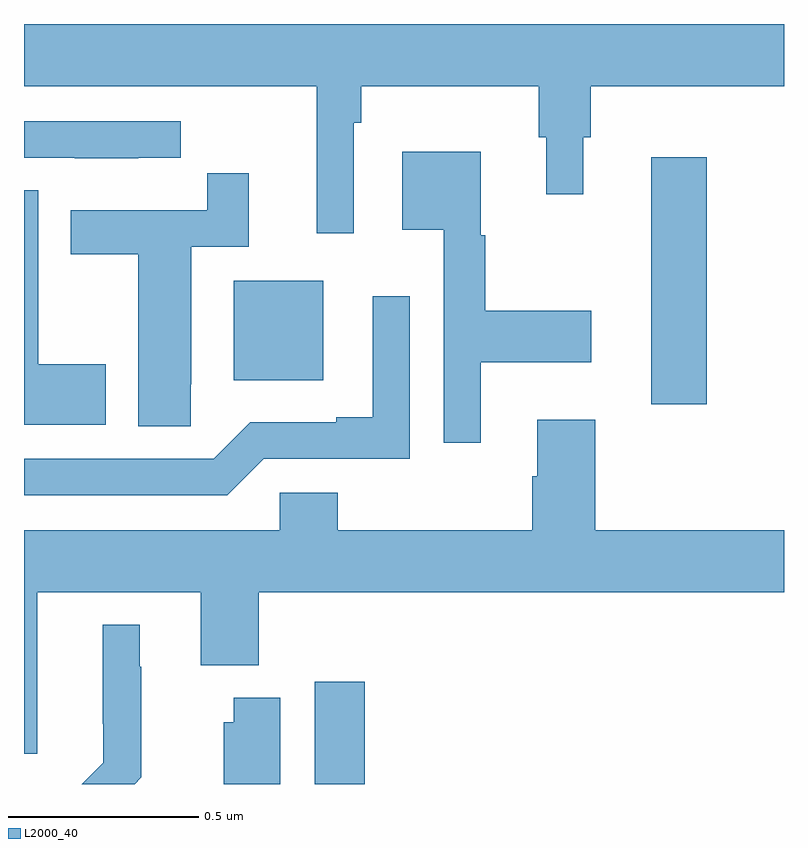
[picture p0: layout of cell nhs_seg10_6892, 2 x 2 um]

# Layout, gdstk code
import gdstk
lib = gdstk.Library(unit=1e-6, precision=1e-09)
def R(c, l, rs):  # rectangles x0, y0, x1, y1
    for r in rs: c.add(gdstk.rectangle(r[:2], r[2:], *l))
def P(c, l, *ps):  # polygons
    for p in ps: c.add(gdstk.Polygon(p, *l))
L2000_40 = (2000, 40)

nhs_seg10_6892 = lib.new_cell('nhs_seg10_6892')
R(nhs_seg10_6892, L2000_40, [(197.765,1278.5,197.897,1278.769), (198.65,1279.5,198.797,1280.149), (197.552,1279.562,197.788,1279.825)])
P(nhs_seg10_6892, L2000_40, [(197.868,1280.24),(197.888,1280.24),(197.888,1280.336),(198.355,1280.336),(198.355,1280.202),(198.374,1280.202),(198.374,1280.052),(198.472,1280.052),(198.472,1280.202),(198.491,1280.202),(198.491,1280.336),(199,1280.336),(199,1280.5),(197,1280.5),(197,1280.336),(197.771,1280.336),(197.771,1279.95),(197.868,1279.95)],
  [(197.3,1280.148),(197.413,1280.148),(197.413,1280.244),(197,1280.244),(197,1280.148),(197.134,1280.148),(197.134,1280.147),(197.3,1280.147)],
  [(198.202,1279.61),(198.493,1279.61),(198.493,1279.745),(198.214,1279.745),(198.214,1279.944),(198.202,1279.944),(198.202,1280.164),(197.996,1280.164),(197.996,1279.958),(198.105,1279.958),(198.105,1279.398),(198.202,1279.398)],
  [(197.439,1279.552),(197.44,1279.552),(197.44,1279.914),(197.591,1279.914),(197.591,1280.107),(197.482,1280.107),(197.482,1280.01),(197.123,1280.01),(197.123,1279.894),(197.3,1279.894),(197.3,1279.441),(197.439,1279.441)],
  [(197.215,1279.605),(197.038,1279.605),(197.038,1280.063),(197,1280.063),(197,1279.445),(197.215,1279.445)],
  [(197.631,1279.356),(198.015,1279.356),(198.015,1279.783),(197.918,1279.783),(197.918,1279.465),(197.822,1279.465),(197.822,1279.452),(197.595,1279.452),(197.499,1279.356),(197,1279.356),(197,1279.26),(197.535,1279.26)],
  [(197.035,1279.004),(197.465,1279.004),(197.465,1278.812),(197.618,1278.812),(197.618,1279.004),(199,1279.004),(199,1279.168),(198.503,1279.168),(198.503,1279.459),(198.35,1279.459),(198.35,1279.31),(198.338,1279.31),(198.338,1279.168),(197.825,1279.168),(197.825,1279.266),(197.673,1279.266),(197.673,1279.168),(197,1279.168),(197,1278.579),(197.035,1278.579)],
  [(197.309,1278.518),(197.309,1278.809),(197.305,1278.809),(197.305,1278.919),(197.207,1278.919),(197.207,1278.658),(197.208,1278.658),(197.208,1278.556),(197.152,1278.5),(197.291,1278.5)],
  [(197.674,1278.727),(197.552,1278.727),(197.552,1278.663),(197.525,1278.663),(197.525,1278.5),(197.674,1278.5)])

lib.write_gds('nhs_seg10_6892.gds')
